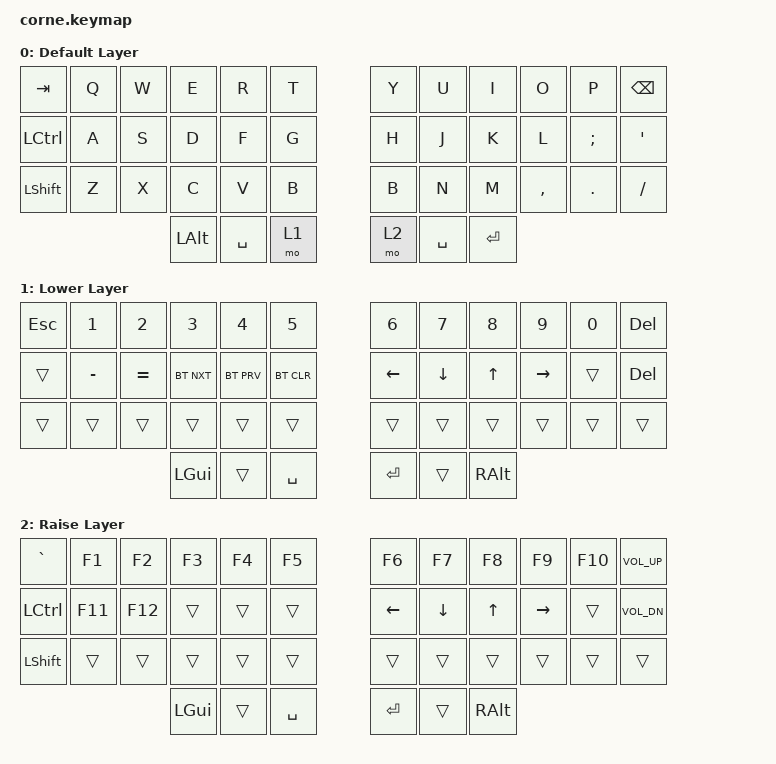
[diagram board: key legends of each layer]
/*
 * Copyright (c) 2020 The ZMK Contributors
 *
 * SPDX-License-Identifier: MIT
 */

#include <behaviors.dtsi>
#include <dt-bindings/zmk/bt.h>
#include <dt-bindings/zmk/keys.h>

/ {
    behaviors {
        HRR: HRR {
            compatible = "zmk,behavior-hold-tap";
            label = "HRR";
            bindings = <&kp>, <&kp>;

            #binding-cells = <2>;
            tapping-term-ms = <200>;
            hold-while-undecided;
            hold-trigger-key-positions = <0 1 2 3 4 5 12 13 14 15 16 17 24 25 26 27 28 29 36 37 38>;
            hold-trigger-on-release;
            flavor = "tap-preferred";
        };

        HRL: HRL {
            compatible = "zmk,behavior-hold-tap";
            label = "HRL";
            bindings = <&kp>, <&kp>;

            #binding-cells = <2>;
            tapping-term-ms = <200>;
            hold-while-undecided;
            hold-trigger-on-release;
            hold-trigger-key-positions = <6 7 8 9 10 11 18 19 20 21 22 23 30 31 32 33 34 35 41 39 40 41>;
            flavor = "tap-preferred";
        };

        HRShiftR: HRShiftR {
            compatible = "zmk,behavior-hold-tap";
            label = "HRSHIFTR";
            bindings = <&kp>, <&kp>;

            #binding-cells = <2>;
            tapping-term-ms = <200>;
            hold-while-undecided;
            hold-trigger-key-positions = <0 1 2 3 4 5 12 13 14 15 16 17 24 25 26 27 28 29 36 37 38>;
            hold-trigger-on-release;
        };

        HRShiftL: HRShiftL {
            compatible = "zmk,behavior-hold-tap";
            label = "HRSHIFTL";
            bindings = <&kp>, <&kp>;

            #binding-cells = <2>;
            tapping-term-ms = <200>;
            hold-while-undecided;
            hold-trigger-on-release;
            hold-trigger-key-positions = <6 7 8 9 10 11 18 19 20 21 22 23 30 31 32 33 34 35 39 40 41>;
        };
    };

    keymap {
        compatible = "zmk,keymap";

        default_layer {
            display-name = "Default Layer";

            // -----------------------------------------------------------------------------------------
            // |  TAB |  Q  |  W  |  E  |  R  |  T  |   |  Y  |  U   |  I  |  O  |  P  | BSPC |
            // | CTRL |  A  |  S  |  D  |  F  |  G  |   |  H  |  J   |  K  |  L  |  ;  |  '   |
            // | SHFT |  Z  |  X  |  C  |  V  |  B  |   |  N  |  M   |  ,  |  .  |  /  | ESC  |
            //                    | GUI | LWR | SPC |   | ENT | RSE  | ALT |

            bindings = <
&kp TAB    &kp Q  &kp W  &kp E         &kp R      &kp T    &kp Y  &kp U      &kp I      &kp O      &kp P       &kp BSPC
&kp LCTRL  &kp A  &kp S  &kp D         &kp F      &kp G    &kp H  &kp J      &kp K      &kp L      &kp SEMI    &kp SQT
&kp LSHFT  &kp Z  &kp X  &kp C         &kp V      &kp B    &kp B  &kp N      &kp M      &kp COMMA  &kp PERIOD  &kp SLASH
                         &kp LEFT_ALT  &kp SPACE  &mo 1    &mo 2  &kp SPACE  &kp ENTER
            >;
        };

        lower_layer {
            display-name = "Lower Layer";

            // -----------------------------------------------------------------------------------------
            // |  TAB |  1  |  2  |  3  |  4  |  5  |   |  6  |  7  |  8  |  9  |  0  | BSPC |
            // | BTCLR| BT1 | BT2 | BT3 | BT4 | BT5 |   | LFT | DWN |  UP | RGT |     |      |
            // | SHFT |     |     |     |     |     |   |     |     |     |     |     |      |
            //                    | GUI |     | SPC |   | ENT |     | ALT |

            bindings = <
&kp ESCAPE  &kp N1     &kp N2     &kp N3      &kp N4      &kp N5        &kp NUMBER_6  &kp N7    &kp N8    &kp N9     &kp N0  &kp DELETE
&trans      &kp MINUS  &kp EQUAL  &bt BT_NXT  &bt BT_PRV  &bt BT_CLR    &kp LEFT      &kp DOWN  &kp UP    &kp RIGHT  &trans  &kp DEL
&trans      &trans     &trans     &trans      &trans      &trans        &trans        &trans    &trans    &trans     &trans  &trans
                                  &kp LGUI    &trans      &kp SPACE     &kp RET       &trans    &kp RALT
            >;
        };

        raise_layer {
            display-name = "Raise Layer";

            // -----------------------------------------------------------------------------------------
            // |  TAB |  !  |  @  |  #  |  $  |  %  |   |  ^  |  &  |  *  |  (  |  )  | BSPC |
            // | CTRL |     |     |     |     |     |   |  -  |  =  |  [  |  ]  |  \  |  `   |
            // | SHFT |     |     |     |     |     |   |  _  |  +  |  {  |  }  | "|" |  ~   |
            //                    | GUI |     | SPC |   | ENT |     | ALT |

            bindings = <
&kp GRAVE  &kp F1   &kp F2   &kp F3    &kp F4  &kp F5       &kp F6          &kp F7          &kp F8        &kp F9     &kp F10  &kp C_VOL_UP
&kp LCTRL  &kp F11  &kp F12  &trans    &trans  &trans       &kp LEFT_ARROW  &kp DOWN_ARROW  &kp UP_ARROW  &kp RIGHT  &trans   &kp C_VOL_DN
&kp LSHFT  &trans   &trans   &trans    &trans  &trans       &trans          &trans          &trans        &trans     &trans   &trans
                             &kp LGUI  &trans  &kp SPACE    &kp RET         &trans          &kp RALT
            >;
        };
    };
};
